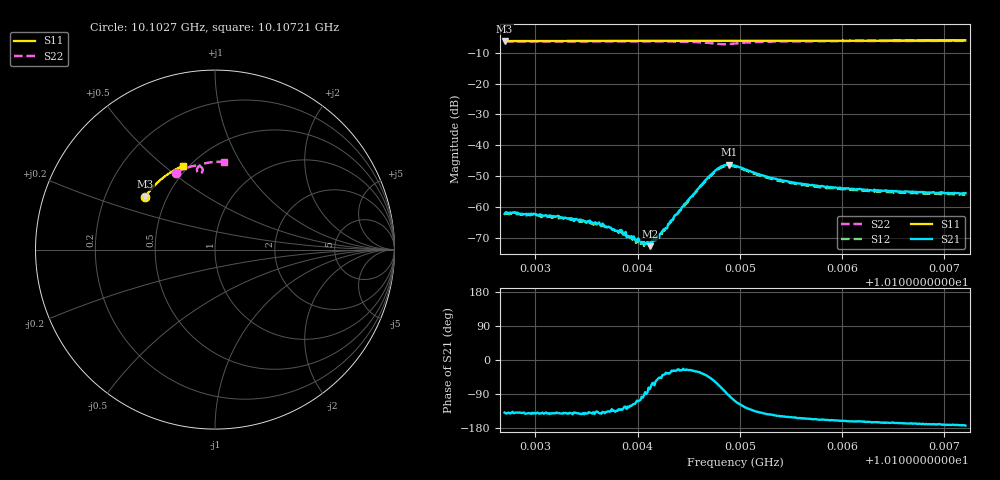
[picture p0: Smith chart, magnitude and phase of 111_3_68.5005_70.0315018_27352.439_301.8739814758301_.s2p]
#  HZ  S  RI  R  50.00
! Rohde & Schwarz Vector Network Analyzer
! Rohde-Schwarz,ZNB20-2Port,1311601062101988,3.16
! Created: UTC 3/20/2024, 4:53:34 PM
! freq[Hz]  re:S11  im:S11  re:S21  im:S21  re:S12  im:S12  re:S22  im:S22
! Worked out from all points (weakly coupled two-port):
!   401 points, 10.1027 GHz to 10.10721 GHz, reference 50 ohm
!   highest |S21| = -46.33 dB at 10.1049 GHz (marker M1); lowest = -72.8 dB at 10.10412 GHz (marker M2)
!   lowest |S11| = -6.2 dB at 10.1027 GHz (marker M3), VSWR 2.90, Z = 18.9 + j14.6 ohm
!   |S11| at or under -10 dB: nowhere
!   |S22| runs from -7.3 to -6.2 dB; largest |S21 - S12| = 0.00049
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1.0102699e10  -0.3882 0.2946  -0.000576 -0.000507  -0.000547 -0.000567  -0.2158 0.4286
1.0102981e10  -0.3784 0.3086  -0.000605 -0.000486  -0.000508 -0.000499  -0.1992 0.4374
1.0103454e10  -0.3606 0.3313  -0.00048 -0.000365  -0.000405 -0.000404  -0.1702 0.4507
1.0103646e10  -0.3529 0.3401  -0.000387 -0.000306  -0.000344 -0.000337  -0.1578 0.4554
1.0103747e10  -0.3488 0.3448  -0.000282 -0.000339  -0.000278 -0.000324  -0.1509 0.4578
1.010386e10  -0.3442 0.3499  -0.000223 -0.000286  -0.000171 -0.000305  -0.1432 0.4604
1.0103916e10  -0.3419 0.3524  -0.000191 -0.000273  -0.000146 -0.000287  -0.1392 0.4616
1.0104006e10  -0.3381 0.3563  -9.95e-05 -0.000293  -5.07e-05 -0.00026  -0.1327 0.4634
1.0104063e10  -0.3357 0.3587  -1.58e-05 -0.000272  7.81e-06 -0.000231  -0.1284 0.4645
1.0104119e10  -0.3334 0.3612  5.22e-05 -0.000224  8.76e-05 -0.000249  -0.1241 0.4654
1.0104141e10  -0.3323 0.3622  0.000133 -0.000252  0.000124 -0.000229  -0.1223 0.4658
1.0104209e10  -0.3295 0.365  0.000244 -0.000259  0.000234 -0.000209  -0.1168 0.4667
1.0104288e10  -0.326 0.3684  0.000365 -0.000264  0.000422 -0.00026  -0.1101 0.4675
1.0104401e10  -0.321 0.3731  0.000758 -0.000344  0.000737 -0.000297  -0.0995 0.4677
1.0104716e10  -0.3066 0.3858  0.00219 -0.00248  0.00233 -0.00219  -0.0681 0.4455
1.0104806e10  -0.3025 0.3892  0.00153 -0.00413  0.0018 -0.00385  -0.0736 0.4295
1.0104896e10  -0.2984 0.3926  -0.000376 -0.00481  1.13e-05 -0.00465  -0.0911 0.4273
1.0104953e10  -0.296 0.3948  -0.00145 -0.00442  -0.00102 -0.00435  -0.0986 0.4345
1.0105279e10  -0.2804 0.4072  -0.00243 -0.0018  -0.00217 -0.00196  -0.0836 0.4697
1.0105708e10  -0.2593 0.4223  -0.00208 -0.000917  -0.00188 -0.00107  -0.0503 0.4821
1.0106462e10  -0.2202 0.446  -0.00174 -0.000433  -0.00163 -0.000587  0.00197 0.4885
1.0107206e10  -0.1795 0.4653  -0.00166 -0.000201  -0.00153 -0.000367  0.051 0.4882
